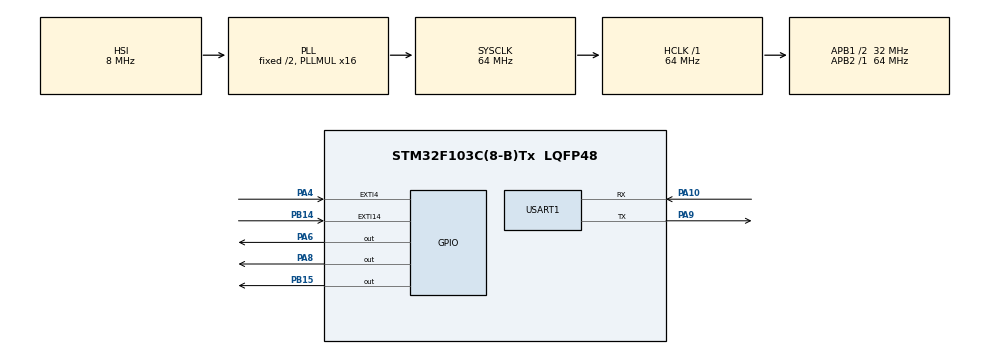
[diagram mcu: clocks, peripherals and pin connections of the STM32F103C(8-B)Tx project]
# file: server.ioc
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Dma.Request0=USART1_RX
Dma.USART1_RX.0.Direction=DMA_PERIPH_TO_MEMORY
Dma.USART1_RX.0.Instance=DMA1_Channel5
Dma.USART1_RX.0.MemDataAlignment=DMA_MDATAALIGN_BYTE
Dma.USART1_RX.0.MemInc=DMA_MINC_ENABLE
Dma.USART1_RX.0.Mode=DMA_NORMAL
Dma.USART1_RX.0.PeriphDataAlignment=DMA_PDATAALIGN_BYTE
Dma.USART1_RX.0.PeriphInc=DMA_PINC_DISABLE
Dma.USART1_RX.0.Priority=DMA_PRIORITY_LOW
Mcu.Family=STM32F1
Mcu.Name=STM32F103C(8-B)Tx
Mcu.Package=LQFP48
NVIC.DMA1_Channel5_IRQn=true\:0\:0\:false\:false\:true\:false
NVIC.EXTI15_10_IRQn=true\:0\:0\:false\:false\:true\:true
NVIC.EXTI4_IRQn=true\:0\:0\:false\:false\:true\:true
NVIC.PriorityGroup=NVIC_PRIORITYGROUP_4
NVIC.USART1_IRQn=true\:0\:0\:false\:false\:true\:true
PA10.Mode=Asynchronous
PA10.Signal=USART1_RX
PA13.Mode=Serial_Wire
PA13.Signal=SYS_JTMS-SWDIO
PA14.Mode=Serial_Wire
PA14.Signal=SYS_JTCK-SWCLK
PA4.GPIO_PuPd=GPIO_PULLUP
PA4.Signal=GPXTI4
PA6.Signal=GPIO_Output
PA8.Signal=GPIO_Output
PA9.Mode=Asynchronous
PA9.Signal=USART1_TX
PB14.GPIO_ModeDefaultEXTI=GPIO_MODE_IT_RISING_FALLING
PB14.GPIO_PuPd=GPIO_PULLUP
PB14.Signal=GPXTI14
PB15.Signal=GPIO_Output
ProjectManager.HeapSize=0x1000
ProjectManager.StackSize=0x400
ProjectManager.TargetToolchain=EWARM V7
RCC.AHBFreq_Value=64000000
RCC.APB1CLKDivider=RCC_HCLK_DIV2
RCC.APB1Freq_Value=32000000
RCC.APB1TimFreq_Value=64000000
RCC.APB2Freq_Value=64000000
RCC.APB2TimFreq_Value=64000000
RCC.HCLKFreq_Value=64000000
RCC.PLLMUL=RCC_PLL_MUL16
RCC.SYSCLKFreq_VALUE=64000000
RCC.SYSCLKSource=RCC_SYSCLKSOURCE_PLLCLK
RCC.USBFreq_Value=64000000
USART1.VirtualMode=VM_ASYNC
board=custom

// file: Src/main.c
/**
  ******************************************************************************
  * @file           : main.c
  * @brief          : Main program body
  ******************************************************************************
  ** This notice applies to any and all portions of this file
  * that are not between comment pairs USER CODE BEGIN and
  * USER CODE END. Other portions of this file, whether
  * inserted by the user or by software development tools
  * are owned by their respective copyright owners.
  *
  * COPYRIGHT(c) 2018 STMicroelectronics
  *
  * Redistribution and use in source and binary forms, with or without modification,
  * are permitted provided that the following conditions are met:
  *   1. Redistributions of source code must retain the above copyright notice,
  *      this list of conditions and the following disclaimer.
  *   2. Redistributions in binary form must reproduce the above copyright notice,
  *      this list of conditions and the following disclaimer in the documentation
  *      and/or other materials provided with the distribution.
  *   3. Neither the name of STMicroelectronics nor the names of its contributors
  *      may be used to endorse or promote products derived from this software
  *      without specific prior written permission.
  *
  * THIS SOFTWARE IS PROVIDED BY THE COPYRIGHT HOLDERS AND CONTRIBUTORS "AS IS"
  * AND ANY EXPRESS OR IMPLIED WARRANTIES, INCLUDING, BUT NOT LIMITED TO, THE
  * IMPLIED WARRANTIES OF MERCHANTABILITY AND FITNESS FOR A PARTICULAR PURPOSE ARE
  * DISCLAIMED. IN NO EVENT SHALL THE COPYRIGHT HOLDER OR CONTRIBUTORS BE LIABLE
  * FOR ANY DIRECT, INDIRECT, INCIDENTAL, SPECIAL, EXEMPLARY, OR CONSEQUENTIAL
  * DAMAGES (INCLUDING, BUT NOT LIMITED TO, PROCUREMENT OF SUBSTITUTE GOODS OR
  * SERVICES; LOSS OF USE, DATA, OR PROFITS; OR BUSINESS INTERRUPTION) HOWEVER
  * CAUSED AND ON ANY THEORY OF LIABILITY, WHETHER IN CONTRACT, STRICT LIABILITY,
  * OR TORT (INCLUDING NEGLIGENCE OR OTHERWISE) ARISING IN ANY WAY OUT OF THE USE
  * OF THIS SOFTWARE, EVEN IF ADVISED OF THE POSSIBILITY OF SUCH DAMAGE.
  *
  ******************************************************************************
  */
#include "main.h"
#include "stm32f1xx_hal.h"

/* USER CODE BEGIN Includes */
#include "rsa_16.h"
#include "lora.h"
#include "string.h"
#include "stdlib.h"
#include "flash.h"
/* USER CODE END Includes */

UART_HandleTypeDef huart1;
DMA_HandleTypeDef hdma_usart1_rx;

/* USER CODE BEGIN PV */
/* Private variables ---------------------------------------------------------*/

/* USER CODE END PV */

void SystemClock_Config(void);
static void MX_GPIO_Init(void);
static void MX_DMA_Init(void);
static void MX_USART1_UART_Init(void);

/* USER CODE BEGIN PFP */
/* Private function prototypes -----------------------------------------------*/

/* USER CODE END PFP */

int main(void)
{
  /* USER CODE BEGIN 1 */
  uint16_t id;
  uint32_t num;
  LoraPar lp;

  /* USER CODE END 1 */

  /* MCU Configuration----------------------------------------------------------*/

  /* Reset of all peripherals, Initializes the Flash interface and the Systick. */
  HAL_Init();

  /* Configure the system clock */
  SystemClock_Config();

  /* Initialize all configured peripherals */
  MX_GPIO_Init();
  MX_DMA_Init();
  MX_USART1_UART_Init();
  /* USER CODE BEGIN 2 */

  LoraModuleGPIOInit(&huart1);

  id = FLASH_Init();
  if ( id == 0 ) {
    return -1;
  }

  //在key设备上，这个id是对应的lock设备id
  //key自身的id必须是不同于该id的id
  setLockID(id);

retry:
  //key设备自身id随机生成，要求不能为0或0xffff，不能与lock设备id相同
  srand(HAL_GetTick());
  num = rand();
  lp.u16Addr = (uint16_t)num;
  if (lp.u16Addr == 0xffff) {
    goto retry;
  } else if ( lp.u16Addr == id ) {
    goto retry;
  } else if ( lp.u16Addr == 0 ) {
    goto retry;
  }

  lp.u8Baud = BAUD_115200;
  lp.u8Channel = CHAN_438MHZ;
  lp.u8FEC = FEC_ENABLE;
  lp.u8IOMode = IOMODE_PP;
  lp.u8Parity = PARITY_8O1;
  lp.u8SendDB = SEND_20DB;
  lp.u8Speedinair = SPEED_IN_AIR_19_2K;
  lp.u8TranferMode = TRANSFER_MODE_DINGDIAN;
  lp.u8WakeUpTime = WAKEUP_TIME_750MS;
  SetLoraParamter(&huart1, &lp);
  ReadLoraParamter(&huart1);

  LoraModuleDMAInit(&huart1);

  /* USER CODE END 2 */

  /* Infinite loop */
  while (1)
  {

  /* USER CODE BEGIN 3 */

    afterWakeUp();
  }
  /* USER CODE END 3 */

}

void SystemClock_Config(void)
{

  RCC_OscInitTypeDef RCC_OscInitStruct;
  RCC_ClkInitTypeDef RCC_ClkInitStruct;

    /**Initializes the CPU, AHB and APB busses clocks
    */
  RCC_OscInitStruct.OscillatorType = RCC_OSCILLATORTYPE_HSI;
  RCC_OscInitStruct.HSIState = RCC_HSI_ON;
  RCC_OscInitStruct.HSICalibrationValue = 16;
  RCC_OscInitStruct.PLL.PLLState = RCC_PLL_ON;
  RCC_OscInitStruct.PLL.PLLSource = RCC_PLLSOURCE_HSI_DIV2;
  RCC_OscInitStruct.PLL.PLLMUL = RCC_PLL_MUL16;
  if (HAL_RCC_OscConfig(&RCC_OscInitStruct) != HAL_OK)
  {
    _Error_Handler(__FILE__, __LINE__);
  }

    /**Initializes the CPU, AHB and APB busses clocks
    */
  RCC_ClkInitStruct.ClockType = RCC_CLOCKTYPE_HCLK|RCC_CLOCKTYPE_SYSCLK
                              |RCC_CLOCKTYPE_PCLK1|RCC_CLOCKTYPE_PCLK2;
  RCC_ClkInitStruct.SYSCLKSource = RCC_SYSCLKSOURCE_PLLCLK;
  RCC_ClkInitStruct.AHBCLKDivider = RCC_SYSCLK_DIV1;
  RCC_ClkInitStruct.APB1CLKDivider = RCC_HCLK_DIV2;
  RCC_ClkInitStruct.APB2CLKDivider = RCC_HCLK_DIV1;

  if (HAL_RCC_ClockConfig(&RCC_ClkInitStruct, FLASH_LATENCY_2) != HAL_OK)
  {
    _Error_Handler(__FILE__, __LINE__);
  }

    /**Configure the Systick interrupt time
    */
  HAL_SYSTICK_Config(HAL_RCC_GetHCLKFreq()/1000);

    /**Configure the Systick
    */
  HAL_SYSTICK_CLKSourceConfig(SYSTICK_CLKSOURCE_HCLK);

  /* SysTick_IRQn interrupt configuration */
  HAL_NVIC_SetPriority(SysTick_IRQn, 0, 0);
}

/* USART1 init function */
static void MX_USART1_UART_Init(void)
{

  huart1.Instance = USART1;
  huart1.Init.BaudRate = 115200;
  huart1.Init.WordLength = UART_WORDLENGTH_8B;
  huart1.Init.StopBits = UART_STOPBITS_1;
  huart1.Init.Parity = UART_PARITY_NONE;
  huart1.Init.Mode = UART_MODE_TX_RX;
  huart1.Init.HwFlowCtl = UART_HWCONTROL_NONE;
  huart1.Init.OverSampling = UART_OVERSAMPLING_16;
  if (HAL_UART_Init(&huart1) != HAL_OK)
  {
    _Error_Handler(__FILE__, __LINE__);
  }

}

static void MX_DMA_Init(void)
{
  /* DMA controller clock enable */
  __HAL_RCC_DMA1_CLK_ENABLE();

  /* DMA interrupt init */
  /* DMA1_Channel5_IRQn interrupt configuration */
  HAL_NVIC_SetPriority(DMA1_Channel5_IRQn, 0, 0);
  HAL_NVIC_EnableIRQ(DMA1_Channel5_IRQn);

}

/** Configure pins as
        * Analog
        * Input
        * Output
        * EVENT_OUT
        * EXTI
*/
static void MX_GPIO_Init(void)
{

  GPIO_InitTypeDef GPIO_InitStruct;

  /* GPIO Ports Clock Enable */
  __HAL_RCC_GPIOA_CLK_ENABLE();
  __HAL_RCC_GPIOB_CLK_ENABLE();

  /*Configure GPIO pin Output Level */
  HAL_GPIO_WritePin(GPIOA, GPIO_PIN_6|GPIO_PIN_8, GPIO_PIN_RESET);

  /*Configure GPIO pin Output Level */
  HAL_GPIO_WritePin(GPIOB, GPIO_PIN_15, GPIO_PIN_RESET);

  /*Configure GPIO pin : PA4 */
  GPIO_InitStruct.Pin = GPIO_PIN_4;
  GPIO_InitStruct.Mode = GPIO_MODE_IT_RISING;
  GPIO_InitStruct.Pull = GPIO_PULLUP;
  HAL_GPIO_Init(GPIOA, &GPIO_InitStruct);

  /*Configure GPIO pins : PA6 PA8 */
  GPIO_InitStruct.Pin = GPIO_PIN_6|GPIO_PIN_8;
  GPIO_InitStruct.Mode = GPIO_MODE_OUTPUT_PP;
  GPIO_InitStruct.Pull = GPIO_NOPULL;
  GPIO_InitStruct.Speed = GPIO_SPEED_FREQ_LOW;
  HAL_GPIO_Init(GPIOA, &GPIO_InitStruct);
HAL_GPIO_WritePin(GPIOA, GPIO_PIN_6, GPIO_PIN_SET);
  /*Configure GPIO pin : PB14 */
  GPIO_InitStruct.Pin = GPIO_PIN_14;
  GPIO_InitStruct.Mode = GPIO_MODE_IT_RISING_FALLING;
  GPIO_InitStruct.Pull = GPIO_PULLUP;
  HAL_GPIO_Init(GPIOB, &GPIO_InitStruct);

  /*Configure GPIO pin : PB15 */
  GPIO_InitStruct.Pin = GPIO_PIN_15;
  GPIO_InitStruct.Mode = GPIO_MODE_OUTPUT_PP;
  GPIO_InitStruct.Pull = GPIO_NOPULL;
  GPIO_InitStruct.Speed = GPIO_SPEED_FREQ_LOW;
  HAL_GPIO_Init(GPIOB, &GPIO_InitStruct);

  /* EXTI interrupt init*/
  HAL_NVIC_SetPriority(EXTI4_IRQn, 0, 0);
  HAL_NVIC_EnableIRQ(EXTI4_IRQn);

  HAL_NVIC_SetPriority(EXTI15_10_IRQn, 0, 0);
  HAL_NVIC_EnableIRQ(EXTI15_10_IRQn);

}

void _Error_Handler(char *file, int line)
{
  while(1)
  {
  }
}

/************************ (C) COPYRIGHT STMicroelectronics *****END OF FILE****/
